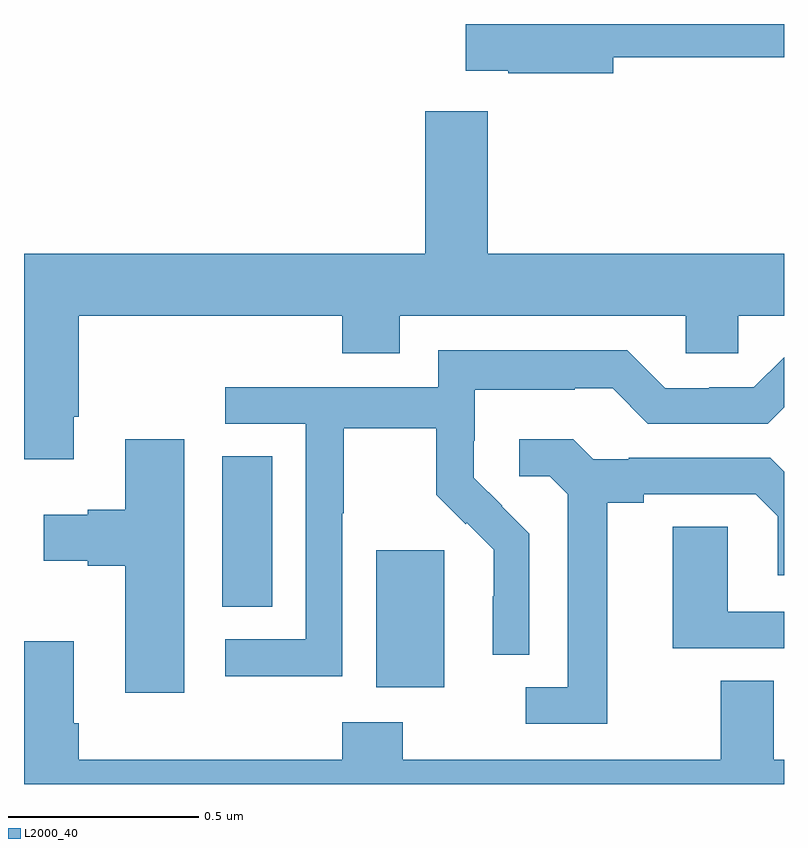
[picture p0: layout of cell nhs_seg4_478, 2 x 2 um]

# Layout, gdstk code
import gdstk
lib = gdstk.Library(unit=1e-6, precision=1e-09)
def R(c, l, rs):  # rectangles x0, y0, x1, y1
    for r in rs: c.add(gdstk.rectangle(r[:2], r[2:], *l))
def P(c, l, *ps):  # polygons
    for p in ps: c.add(gdstk.Polygon(p, *l))
L2000_40 = (2000, 40)

nhs_seg4_478 = lib.new_cell('nhs_seg4_478')
R(nhs_seg4_478, L2000_40, [(116.927,817.154,117.106,817.515), (116.522,817.366,116.653,817.763)])
P(nhs_seg4_478, L2000_40, [(117.55,818.812),(118,818.812),(118,818.9),(117.162,818.9),(117.162,818.777),(117.274,818.777),(117.274,818.77),(117.55,818.77)],
  [(116.131,817.867),(116.144,817.867),(116.144,818.132),(116.837,818.132),(116.837,818.033),(116.989,818.033),(116.989,818.132),(117.741,818.132),(117.741,818.034),(117.879,818.034),(117.879,818.132),(118,818.132),(118,818.296),(117.22,818.296),(117.22,818.671),(117.056,818.671),(117.056,818.296),(116,818.296),(116,817.755),(116.131,817.755)],
  [(116.838,817.612),(116.841,817.612),(116.841,817.836),(117.085,817.836),(117.085,817.661),(117.162,817.584),(117.165,817.587),(117.236,817.517),(117.236,817.394),(117.234,817.394),(117.234,817.24),(117.33,817.24),(117.33,817.558),(117.257,817.631),(117.258,817.632),(117.184,817.706),(117.184,817.803),(117.186,817.803),(117.186,817.937),(117.449,817.937),(117.449,817.941),(117.549,817.941),(117.642,817.848),(117.957,817.848),(118,817.891),(118,818.023),(117.921,817.944),(117.803,817.944),(117.803,817.941),(117.687,817.941),(117.587,818.041),(117.09,818.041),(117.09,817.944),(116.529,817.944),(116.529,817.848),(116.742,817.848),(116.742,817.281),(116.529,817.281),(116.529,817.183),(116.838,817.183)],
  [(116.422,817.807),(116.267,817.807),(116.267,817.622),(116.168,817.622),(116.168,817.609),(116.052,817.609),(116.052,817.487),(116.168,817.487),(116.168,817.475),(116.267,817.475),(116.267,817.14),(116.422,817.14)],
  [(117.535,817.64),(117.631,817.64),(117.631,817.662),(117.926,817.662),(117.983,817.605),(117.983,817.449),(118,817.449),(118,817.722),(117.964,817.758),(117.592,817.758),(117.592,817.755),(117.498,817.755),(117.446,817.807),(117.303,817.807),(117.303,817.71),(117.384,817.71),(117.431,817.663),(117.431,817.155),(117.321,817.155),(117.321,817.059),(117.535,817.059)],
  [(118,817.353),(117.852,817.353),(117.852,817.577),(117.707,817.577),(117.707,817.257),(118,817.257)],
  [(118,816.964),(117.973,816.964),(117.973,817.172),(117.833,817.172),(117.833,816.964),(116.997,816.964),(116.997,817.063),(116.837,817.063),(116.837,816.964),(116.144,816.964),(116.144,817.06),(116.131,817.06),(116.131,817.276),(116,817.276),(116,816.9),(118,816.9)])

lib.write_gds('nhs_seg4_478.gds')
